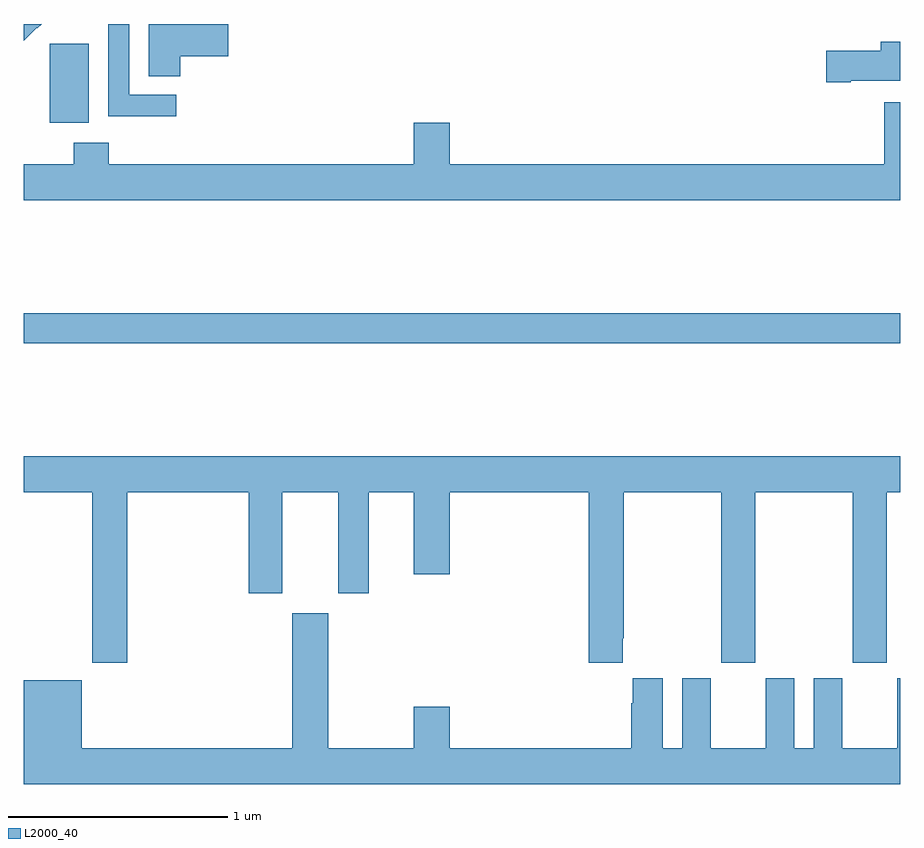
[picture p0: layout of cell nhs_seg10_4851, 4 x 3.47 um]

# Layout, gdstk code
import gdstk
lib = gdstk.Library(unit=1e-6, precision=1e-09)
def R(c, l, rs):  # rectangles x0, y0, x1, y1
    for r in rs: c.add(gdstk.rectangle(r[:2], r[2:], *l))
def P(c, l, *ps):  # polygons
    for p in ps: c.add(gdstk.Polygon(p, *l))
L2000_40 = (2000, 40)

nhs_seg10_4851 = lib.new_cell('nhs_seg10_4851')
R(nhs_seg10_4851, L2000_40, [(391,1253.044,395,1253.18), (391.118,1254.05,391.297,1254.411)])
P(nhs_seg10_4851, L2000_40, [(391.715,1254.353),(391.933,1254.353),(391.933,1254.5),(391.571,1254.5),(391.571,1254.262),(391.715,1254.262)],
  [(391.696,1254.177),(391.482,1254.177),(391.482,1254.5),(391.386,1254.5),(391.386,1254.079),(391.696,1254.079)],
  [(391.059,1254.483),(391.062,1254.48),(391.082,1254.5),(391,1254.5),(391,1254.424)],
  [(394.774,1254.242),(395,1254.242),(395,1254.418),(394.91,1254.418),(394.91,1254.377),(394.662,1254.377),(394.662,1254.235),(394.774,1254.235)],
  [(395,1254.142),(394.926,1254.142),(394.926,1253.86),(392.944,1253.86),(392.944,1254.049),(392.78,1254.049),(392.78,1253.86),(391.388,1253.86),(391.388,1253.959),(391.228,1253.959),(391.228,1253.86),(391,1253.86),(391,1253.696),(395,1253.696)],
  [(391.472,1252.364),(392.027,1252.364),(392.027,1251.903),(392.179,1251.903),(392.179,1252.364),(392.435,1252.364),(392.435,1251.903),(392.575,1251.903),(392.575,1252.364),(392.78,1252.364),(392.78,1251.99),(392.944,1251.99),(392.944,1252.364),(393.578,1252.364),(393.578,1251.585),(393.733,1251.585),(393.733,1251.697),(393.738,1251.697),(393.738,1252.364),(394.183,1252.364),(394.183,1251.585),(394.338,1251.585),(394.338,1252.364),(394.783,1252.364),(394.783,1251.585),(394.938,1251.585),(394.938,1252.364),(395,1252.364),(395,1252.528),(391,1252.528),(391,1252.364),(391.312,1252.364),(391.312,1251.585),(391.472,1251.585)],
  [(393.779,1251.514),(393.779,1251.401),(393.773,1251.401),(393.773,1251.196),(392.944,1251.196),(392.944,1251.385),(392.78,1251.385),(392.78,1251.196),(392.389,1251.196),(392.389,1251.811),(392.225,1251.811),(392.225,1251.196),(391.264,1251.196),(391.264,1251.505),(391,1251.505),(391,1251.032),(395,1251.032),(395,1251.514),(394.985,1251.514),(394.985,1251.196),(394.735,1251.196),(394.735,1251.514),(394.604,1251.514),(394.604,1251.196),(394.516,1251.196),(394.516,1251.514),(394.385,1251.514),(394.385,1251.196),(394.135,1251.196),(394.135,1251.514),(394.004,1251.514),(394.004,1251.196),(393.916,1251.196),(393.916,1251.514)])

lib.write_gds('nhs_seg10_4851.gds')
